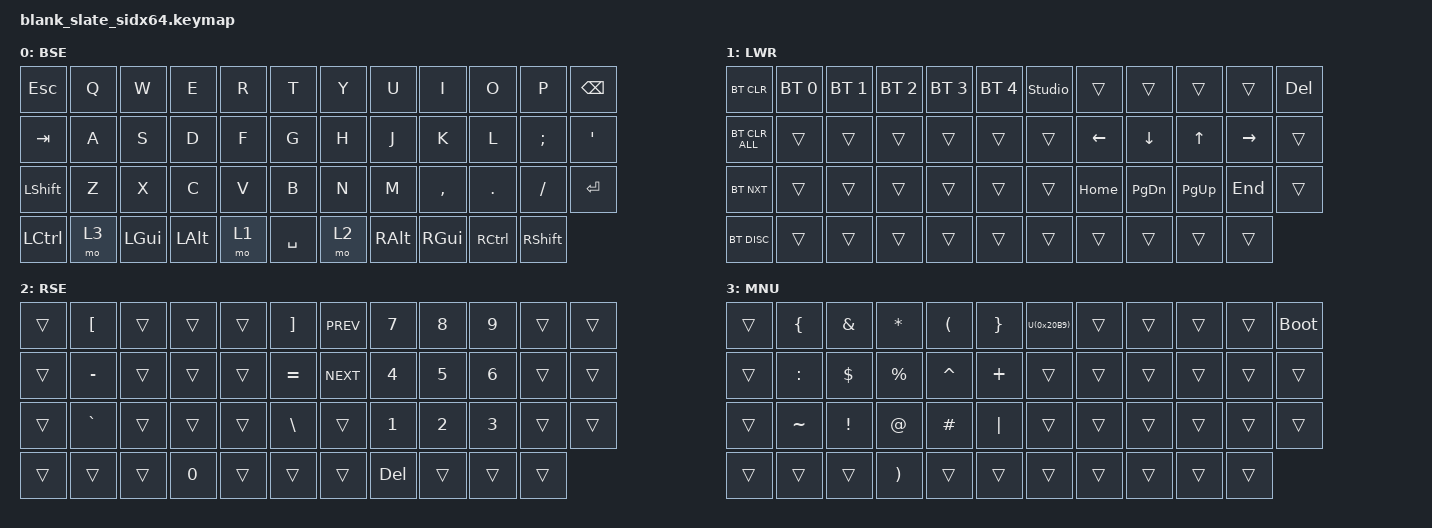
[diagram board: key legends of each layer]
/*
UPDATED BY: Siddharth Shanbhogue
 */

#include <layouts/common/ortho_4x12/1x2u.dtsi>
#include <behaviors.dtsi>
#include <dt-bindings/zmk/bt.h>
#include <dt-bindings/zmk/keys.h>

// Using layer taps on thumbs, having quick tap as well helps w/ repeating space/backspace

&lt { quick_tap_ms = <200>; };

/ {
    chosen { zmk,physical-layout = &layout_ortho_4x12_1x2u; };

    macros {
        ZMK_MACRO(thumbs_up,

        wait-ms = <1>;
        tap-ms = <5>;
        bindings = <&kp PLUS &kp COLON &kp PLUS &kp N1 &kp COLON &kp RET>;

        )
    };

    tap_dances {
        shifty: shift_caps_word {
            compatible = "zmk,behavior-tap-dance";
            label = "TD_SHIFTY";
            #binding-cells = <0>;
            tapping-term-ms = <150>;
            bindings = <&kp LSHFT>, <&caps_word>;
        };
    };

    behaviors {
    };

    keymap {
        compatible = "zmk,keymap";

        layer_0 {
            label = "BSE";
            bindings = <
&kp ESC    &kp Q  &kp W     &kp E     &kp R  &kp T        &kp Y  &kp U     &kp I      &kp O      &kp P      &kp BSPC
&kp TAB    &kp A  &kp S     &kp D     &kp F  &kp G        &kp H  &kp J     &kp K      &kp L      &kp SEMI   &kp APOS
&kp LSHFT  &kp Z  &kp X     &kp C     &kp V  &kp B        &kp N  &kp M     &kp COMMA  &kp DOT    &kp FSLH   &kp RET
&kp LCTRL  &mo 3  &kp LGUI  &kp LALT  &mo 1  &kp SPACE    &mo 2  &kp RALT  &kp RGUI   &kp RCTRL  &kp RSHFT
            >;
        };

        layer_1 {
            label = "LWR";
            bindings = <
&bt BT_CLR      &bt BT_SEL 0    &bt BT_SEL 1    &bt BT_SEL 2    &bt BT_SEL 3    &bt BT_SEL 4    &studio_unlock  &trans    &trans     &trans     &trans     &kp DEL
&bt BT_CLR_ALL  &trans          &trans          &trans          &trans          &trans          &trans          &kp LEFT  &kp DOWN   &kp UP     &kp RIGHT  &trans
&bt BT_NXT      &trans          &trans          &trans          &trans          &trans          &trans          &kp HOME  &kp PG_DN  &kp PG_UP  &kp END    &trans
&bt BT_DISC     &trans          &trans          &trans          &trans          &trans          &trans          &trans    &trans     &trans     &trans
            >;
        };

        layer_2 {
            label = "RSE";
            bindings = <
&trans  &kp LBKT   &trans  &trans  &trans  &kp RBKT     &kp C_PREV  &kp N7  &kp N8      &kp N9  &trans  &trans
&trans  &kp MINUS  &trans  &trans  &trans  &kp EQUAL    &kp C_NEXT  &kp N4  &kp N5      &kp N6  &trans  &trans
&trans  &kp GRAVE  &trans  &trans  &trans  &kp BSLH     &trans      &kp N1  &kp N2      &kp N3  &trans  &trans
&trans  &trans     &trans  &kp N0  &trans  &trans       &trans              &kp DEL     &trans  &trans  &trans
            >;
        };

        layer_3 {
            label = "MNU";
            bindings = <
&trans  &kp LBRC   &kp AMPS  &kp STAR   &kp LPAR   &kp RBRC    &kp U(0x20B9)   &trans  &trans  &trans  &trans  &bootloader
&trans  &kp COLON  &kp DLLR  &kp PRCNT  &kp CARET  &kp PLUS    &trans   &trans  &trans  &trans  &trans  &trans
&trans  &kp TILDE  &kp EXCL  &kp AT     &kp HASH   &kp PIPE    &trans   &trans  &trans  &trans  &trans  &trans
&trans  &trans     &trans    &kp RPAR   &trans     &trans               &trans  &trans  &trans  &trans  &trans
            >;
        };
    };
};
